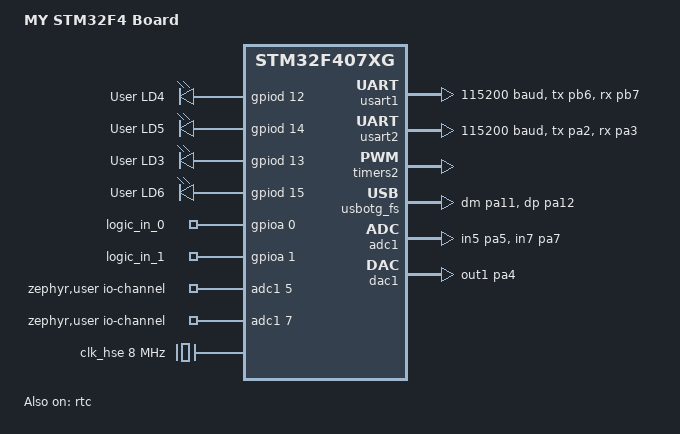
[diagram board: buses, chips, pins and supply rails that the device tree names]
/*
 * Copyright (c) 2017 Linaro Limited
 *
 * SPDX-License-Identifier: Apache-2.0
 */

/dts-v1/;
#include <st/f4/stm32f407Xg.dtsi>
#include <st/f4/stm32f407v(e-g)tx-pinctrl.dtsi>

/ {
	model = "MY STM32F4 Board";
	compatible = "st,stm32f4discovery";

	chosen {
		zephyr,console = &usart2;
		zephyr,shell-uart = &usart2;
		zephyr,sram = &sram0;
		zephyr,flash = &flash0;
		zephyr,ccm = &ccm0;
		zephyr,can-primary = &can2;
	};

	leds {
		compatible = "gpio-leds";
		led_0: led_green {
			gpios = <&gpiod 12 GPIO_ACTIVE_HIGH>;
			label = "User LD4";
		};
		led_1: led_red {
			gpios = <&gpiod 14 GPIO_ACTIVE_HIGH>;
			label = "User LD5";
		};
		led_2: led_orange {
			gpios = <&gpiod 13 GPIO_ACTIVE_HIGH>;
			label = "User LD3";
		};
		led_3: led_blue {
			gpios = <&gpiod 15 GPIO_ACTIVE_HIGH>;
			label = "User LD6";
		};
	};

	gpio_keys {
		compatible = "gpio-keys";
		logic_in_0: logic_in_0 {
			label = "logic_in_0";
			gpios = <&gpioa 0 GPIO_ACTIVE_HIGH>;
		};
		logic_in_1: logic_in_1 {
			label = "logic_in_1";
			gpios = <&gpioa 1 GPIO_SINGLE_ENDED>;
		};
	};

	zephyr,user {
		io-channels = <&adc1 5>, <&adc1 7>;
		dac = <&dac1>;
		dac-channel-id = <1>;
		dac-resolution = <12>;
	};

	aliases {
		intermdule = &usart1;
		sw0 = &logic_in_0;
	};
};

&usart1 {
	pinctrl-0 = <&usart1_tx_pb6 &usart1_rx_pb7>;
	current-speed = <115200>;
	status = "okay";
};

&clk_hse {
	clock-frequency = <DT_FREQ_M(8)>;
	status = "okay";
};

&pll {
	div-m = <8>;
	mul-n = <336>;
	div-p = <2>;
	div-q = <7>;
	clocks = <&clk_hse>;
	status = "okay";
};

&rcc {
	clocks = <&pll>;
	clock-frequency = <DT_FREQ_M(168)>;
	ahb-prescaler = <1>;
	apb1-prescaler = <4>;
	apb2-prescaler = <2>;
};

&usart2 {
	pinctrl-0 = <&usart2_tx_pa2 &usart2_rx_pa3>;
	current-speed = <115200>;
	status = "okay";
};

&timers2 {
	status = "okay";

	pwm2: pwm {
		status = "okay";
		pinctrl-0 = <&tim2_ch1_pa0>;
	};
};

&rtc {
	status = "okay";
};

&usbotg_fs {
	pinctrl-0 = <&usb_otg_fs_dm_pa11 &usb_otg_fs_dp_pa12>;
	status = "okay";
};
/*
&can1 {
	pinctrl-0 = <&can1_rx_pb8 &can1_tx_pb9>;
	bus-speed = <125000>;
	status = "disabled";
};

&can2 {
	pinctrl-0 = <&can2_rx_pb5 &can2_tx_pb13>;
	bus-speed = <125000>;
	status = "okay";
};
*/
&adc1 {
	status = "okay";
	pinctrl-0 = <&adc1_in5_pa5>, <&adc1_in7_pa7>;
};

&dac1 {
	status = "okay";
	pinctrl-0 = <&dac_out1_pa4>;
};
